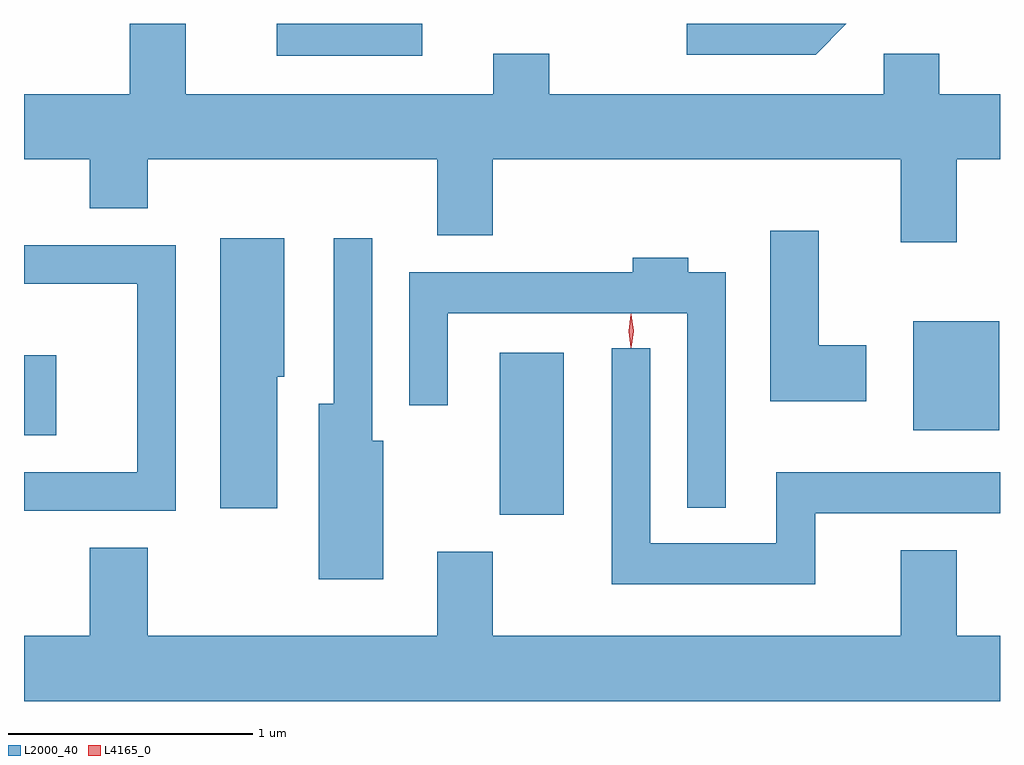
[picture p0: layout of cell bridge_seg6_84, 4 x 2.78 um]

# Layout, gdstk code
import gdstk
lib = gdstk.Library(unit=1e-6, precision=1e-09)
def R(c, l, rs):  # rectangles x0, y0, x1, y1
    for r in rs: c.add(gdstk.rectangle(r[:2], r[2:], *l))
def P(c, l, *ps):  # polygons
    for p in ps: c.add(gdstk.Polygon(p, *l))
L2000_40 = (2000, 40)
L4165_0 = (4165, 0)

bridge_seg6_84 = lib.new_cell('bridge_seg6_84')
R(bridge_seg6_84, L2000_40, [(1283.856,1666.241,1284.119,1666.904), (1281.907,1666.566,1282.039,1666.894), (1285.551,1666.586,1285.904,1667.034), (1282.943,1668.121,1283.539,1668.252)])
P(bridge_seg6_84, L2000_40, [(1285.729,1667.696),(1285.907,1667.696),(1285.907,1667.964),(1285.659,1667.964),(1285.659,1668.129),(1285.431,1668.129),(1285.431,1667.964),(1284.059,1667.964),(1284.059,1668.129),(1283.831,1668.129),(1283.831,1667.964),(1282.569,1667.964),(1282.569,1668.252),(1282.341,1668.252),(1282.341,1667.964),(1281.907,1667.964),(1281.907,1667.696),(1282.176,1667.696),(1282.176,1667.496),(1282.414,1667.496),(1282.414,1667.696),(1283.601,1667.696),(1283.601,1667.386),(1283.829,1667.386),(1283.829,1667.696),(1285.501,1667.696),(1285.501,1667.356),(1285.729,1667.356)],
  [(1285.277,1668.252),(1284.623,1668.252),(1284.623,1668.126),(1285.152,1668.126)],
  [(1285.359,1666.934),(1285.164,1666.934),(1285.164,1667.404),(1284.966,1667.404),(1284.966,1666.706),(1285.359,1666.706)],
  [(1282.944,1666.806),(1282.974,1666.806),(1282.974,1667.374),(1282.711,1667.374),(1282.711,1666.266),(1282.944,1666.266)],
  [(1283.379,1666.544),(1283.334,1666.544),(1283.334,1667.373),(1283.176,1667.373),(1283.176,1666.694),(1283.116,1666.694),(1283.116,1665.976),(1283.379,1665.976)],
  [(1282.529,1667.344),(1281.907,1667.344),(1281.907,1667.186),(1282.371,1667.186),(1282.371,1666.414),(1281.907,1666.414),(1281.907,1666.256),(1282.529,1666.256)],
  [(1284.784,1667.234),(1284.629,1667.234),(1284.629,1667.294),(1284.401,1667.294),(1284.401,1667.234),(1283.486,1667.234),(1283.486,1666.688),(1283.644,1666.688),(1283.644,1667.066),(1284.626,1667.066),(1284.626,1666.268),(1284.784,1666.268)],
  [(1285.149,1666.246),(1285.907,1666.246),(1285.907,1666.414),(1284.991,1666.414),(1284.991,1666.124),(1284.474,1666.124),(1284.474,1666.923),(1284.316,1666.923),(1284.316,1665.956),(1285.149,1665.956)],
  [(1285.907,1665.744),(1285.729,1665.744),(1285.729,1666.094),(1285.501,1666.094),(1285.501,1665.744),(1283.829,1665.744),(1283.829,1666.089),(1283.601,1666.089),(1283.601,1665.744),(1282.414,1665.744),(1282.414,1666.104),(1282.176,1666.104),(1282.176,1665.744),(1281.907,1665.744),(1281.907,1665.476),(1285.907,1665.476)])
P(bridge_seg6_84, L4165_0, [(1284.394,1666.924),(1284.385,1666.993),(1284.394,1667.062),(1284.395,1667.063),(1284.395,1667.062),(1284.405,1666.993),(1284.395,1666.924),(1284.395,1666.924)],
  [(1284.395,1666.927),(1284.395,1666.927),(1284.386,1666.994),(1284.395,1667.06),(1284.396,1667.06),(1284.396,1667.06),(1284.405,1666.994),(1284.396,1666.927)])

lib.write_gds('bridge_seg6_84.gds')
